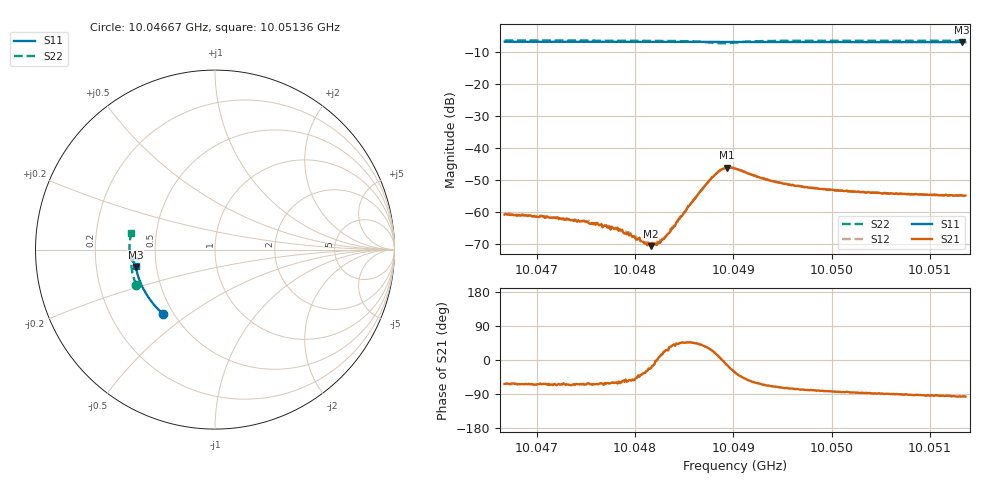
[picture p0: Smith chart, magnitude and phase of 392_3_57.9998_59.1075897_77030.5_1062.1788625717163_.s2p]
#  HZ  S  RI  R  50.00
! Rohde & Schwarz Vector Network Analyzer
! Rohde-Schwarz,ZNB20-2Port,1311601062101988,3.16
! Created: UTC 3/21/2024, 1:07:53 AM
! freq[Hz]  re:S11  im:S11  re:S21  im:S21  re:S12  im:S12  re:S22  im:S22
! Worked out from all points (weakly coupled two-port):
!   401 points, 10.04667 GHz to 10.05136 GHz, reference 50 ohm
!   highest |S21| = -46.08 dB at 10.04893 GHz (marker M1); lowest = -70.6 dB at 10.04816 GHz (marker M2)
!   lowest |S11| = -6.9 dB at 10.05132 GHz (marker M3), VSWR 2.65, Z = 19.1 - j4.61 ohm
!   |S11| at or under -10 dB: nowhere
!   |S22| runs from -7.3 to -6.4 dB; largest |S21 - S12| = 0.00036
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1.0046674e10  -0.2916 -0.3561  0.000417 -0.000824  0.000504 -0.000817  -0.4374 -0.1991
1.0047049e10  -0.3101 -0.3393  0.000384 -0.00079  0.000416 -0.000755  -0.4466 -0.1754
1.0047459e10  -0.3287 -0.3197  0.000314 -0.000659  0.000367 -0.000629  -0.4552 -0.1488
1.0047787e10  -0.343 -0.3035  0.00027 -0.00048  0.000312 -0.000474  -0.4607 -0.1264
1.0047845e10  -0.3454 -0.3004  0.000262 -0.000473  0.000303 -0.000426  -0.4618 -0.1222
1.0047951e10  -0.3497 -0.2949  0.000271 -0.000368  0.000307 -0.000336  -0.4632 -0.1144
1.0048103e10  -0.356 -0.2871  0.00027 -0.000181  0.000302 -0.000167  -0.4649 -0.1031
1.0048162e10  -0.3582 -0.284  0.000274 -0.000111  0.000319 -8.22e-05  -0.4653 -0.0988
1.0048208e10  -0.3601 -0.2815  0.000326 -1.07e-05  0.00031 -1.05e-05  -0.4656 -0.095
1.0048244e10  -0.3614 -0.2797  0.000339 4.32e-05  0.000363 8.65e-05  -0.4659 -0.0921
1.0048279e10  -0.3628 -0.2777  0.000363 9.54e-05  0.000366 0.00013  -0.4658 -0.0893
1.0048326e10  -0.3646 -0.2751  0.0004 0.000201  0.000364 0.000237  -0.466 -0.0852
1.004856e10  -0.3733 -0.2624  0.000903 0.000951  0.000814 0.00105  -0.462 -0.0637
1.0048771e10  -0.3805 -0.2507  0.00294 0.00151  0.00288 0.00167  -0.4432 -0.0477
1.0048864e10  -0.3837 -0.2456  0.00446 0.000466  0.00448 0.000725  -0.4307 -0.0539
1.0048935e10  -0.3859 -0.2417  0.00484 -0.00111  0.00494 -0.000853  -0.43 -0.0652
1.0049017e10  -0.3887 -0.2372  0.00407 -0.00261  0.00421 -0.00237  -0.44 -0.0729
1.004938e10  -0.4002 -0.2164  0.00113 -0.00289  0.00129 -0.00284  -0.4698 -0.048
1.0049801e10  -0.4122 -0.1913  0.00042 -0.00236  0.000567 -0.00234  -0.4758 -0.0142
1.0050586e10  -0.4299 -0.1431  1.89e-05 -0.00194  0.000119 -0.00196  -0.4747 0.0413
1.0051324e10  -0.4417 -0.0962  -0.000196 -0.00183  -8.82e-05 -0.00182  -0.4677 0.0904
1.0051359e10  -0.4423 -0.094  -0.000214 -0.00181  -8.64e-05 -0.00183  -0.4672 0.0925
